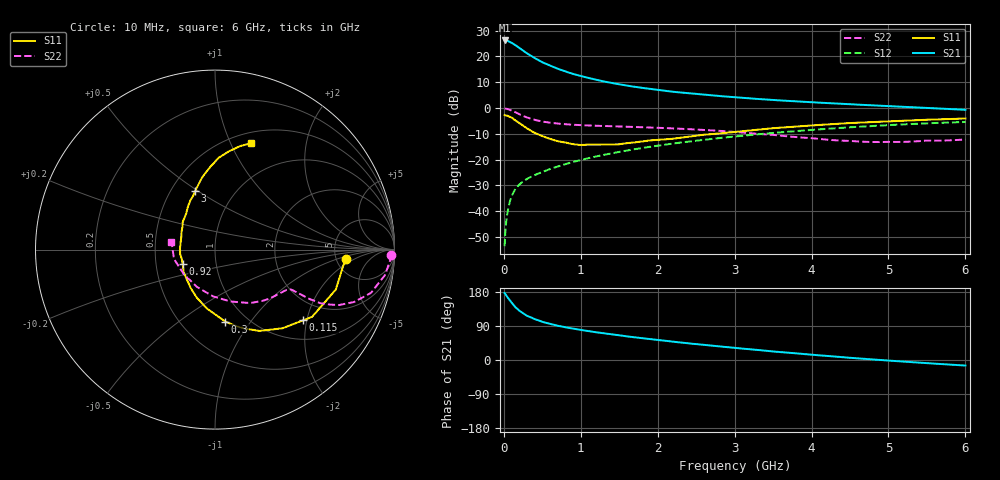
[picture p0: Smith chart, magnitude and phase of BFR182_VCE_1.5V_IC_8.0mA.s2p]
! Infineon Technologies  Discrete & RF Semiconductors
! BFR182
! VCE =  1.5 V,  IC =  8.0 mA
! Common Emitter S-Parameters:  Nov 2015
# GHz  S  MA  R  50
!  f  S11  S21  S12  S22
! GHz  MAG  ANG  MAG  ANG  MAG  ANG  MAG  ANG
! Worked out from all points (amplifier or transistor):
!   210 points, 10 MHz to 6 GHz, reference 50 ohm
!   highest |S21| = 26.2 dB at 10 MHz (marker M1)
!   |S21| within 3 dB of that: start of sweep to 206.5 MHz
!   unconditionally stable (mu >= 1): 811.7 MHz to 2.735 GHz
!   at 185 MHz: K = 0.46, MSG = 26.9 dB, |S12| = -30.2 dB
!   at 1.52 GHz: K = 1.06, MAG = 11.5 dB, |S12| = -16.9 dB
!   at 6 GHz: K = 0.90, MSG = 2.4 dB, |S12| = -5.4 dB
!   S11 on the Smith chart (normalised r, x): 10 MHz: 6.18, -1.33; 115 MHz: 1.46, -1.90; 300 MHz: 0.80, -0.76; 920 MHz: 0.69, -0.12; 3 GHz: 0.66, +0.48; 6 GHz: 0.61, +1.20
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0.01  0.7325 -3.9  20.45 176.9  0.0021 88.6  0.983 -1.7
0.025  0.7161 -9.1  20.3 172.2  0.0051 82.7  0.9739 -4.3
0.05  0.709 -18.3  20.12 164.8  0.01 81.4  0.9578 -8.5
0.1  0.6581 -34.7  18.51 151.5  0.0195 74.6  0.902 -15.5
0.115  0.6299 -38.7  17.86 148.1  0.0217 72.7  0.8788 -17.0
0.15  0.5778 -49.3  16.63 139.1  0.0269 69.4  0.8272 -20.7
0.2  0.5166 -61.3  14.72 130.3  0.0327 66.4  0.7591 -24.0
0.26  0.4472 -73.7  12.68 121.7  0.0388 63.7  0.6945 -26.0
0.3  0.4048 -81.9  11.54 116.6  0.0423 64.0  0.6573 -27.0
0.4  0.3318 -97.7  9.347 107.9  0.0501 63.4  0.5901 -27.6
0.5  0.2865 -110.7  7.716 100.8  0.0577 63.9  0.5472 -27.6
0.6  0.2531 -122.4  6.628 95.3  0.0657 63.9  0.5199 -27.6
0.7  0.2281 -133.7  5.792 90.4  0.0735 64.7  0.4995 -27.6
0.92  0.1976 -155.5  4.5 82.0  0.0917 65.7  0.4731 -28.0
1.02  0.1927 -166.2  4.105 78.8  0.0998 65.8  0.4652 -28.6
1.4  0.1964 165.2  3.064 67.8  0.1322 65.1  0.4442 -32.1
2.02  0.2425 135.8  2.23 52.5  0.1882 61.8  0.4141 -40.3
3  0.3432 108.9  1.618 31.8  0.281 53.6  0.3452 -59.2
3.1  0.3553 106.9  1.578 30.1  0.2905 52.4  0.335 -61.7
4.1  0.4707 92.1  1.273 12.3  0.3863 41.4  0.2515 -96.7
5.1  0.5611 80.7  1.076 -2.9  0.4755 28.9  0.2201 -146.8
6  0.6271 71.2  0.925 -14.7  0.5372 16.2  0.2463 169.8
